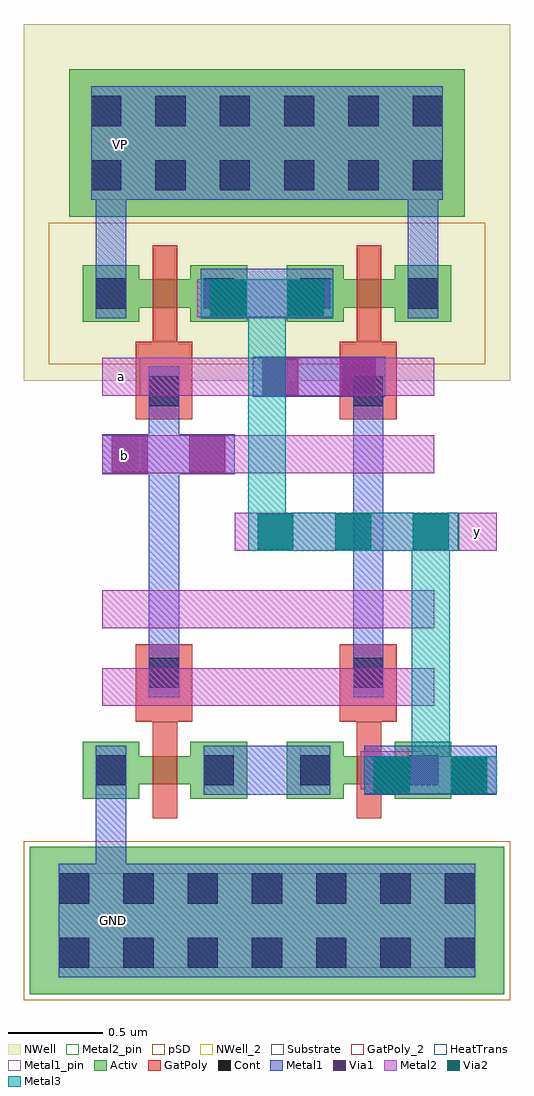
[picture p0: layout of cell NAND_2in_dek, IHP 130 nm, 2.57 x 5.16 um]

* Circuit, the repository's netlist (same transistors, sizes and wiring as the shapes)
** sch_path: /foss/designs/CHIP-PLL/schematics/divider/schematics/NAND_2in.sch
.subckt NAND_2in VP GND a y b
*.PININFO y:O GND:B a:I VP:B b:I
MM1 y a net1 GND sg13_lv_nmos w=0.15u l=0.13u ng=1
MM3 net1 b GND GND sg13_lv_nmos w=0.15u l=0.13u ng=1
MM2 y b VP VP sg13_lv_pmos w=0.15u l=0.13u ng=1
MM4 y a VP VP sg13_lv_pmos w=0.15u l=0.13u ng=1
.ends

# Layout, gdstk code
from math import pi, radians
import gdstk
lib = gdstk.Library(unit=1e-6, precision=1e-09)
def R(c, l, rs):  # rectangles x0, y0, x1, y1
    for r in rs: c.add(gdstk.rectangle(r[:2], r[2:], *l))
def A(c, l, x, y, w, h, nx, ny, dx, dy):  # array of equal rectangles
    R(c, l, [(x+i*dx, y+j*dy, x+i*dx+w, y+j*dy+h) for i in range(nx) for j in range(ny)])
Activ = (1, 0)
GatPoly = (5, 0)
GatPoly_2 = (5, 2)
Cont = (6, 0)
Metal1 = (8, 0)
Metal1_pin = (8, 2)
Metal2 = (10, 0)
Metal2_pin = (10, 2)
pSD = (14, 0)
Via1 = (19, 0)
Via2 = (29, 0)
Metal3 = (30, 0)
NWell = (31, 0)
NWell_2 = (31, 2)
Substrate = (40, 0)
HeatTrans = (51, 0)

via_4 = lib.new_cell('Via$4')
R(via_4, Metal2, [(-0.1,-0.35,0.1,0.35)])
R(via_4, Via2, [(-0.095,-0.3,0.095,-0.11), (-0.095,0.11,0.095,0.3)])
R(via_4, Metal3, [(-0.1,-0.35,0.1,0.35)])

via_2 = lib.new_cell('Via$2')
R(via_2, Metal1, [(-0.105,-0.35,0.105,0.35)])
R(via_2, Metal2, [(-0.1,-0.35,0.1,0.35)])
R(via_2, Via1, [(-0.095,-0.3,0.095,-0.11), (-0.095,0.11,0.095,0.3)])

ntap1 = lib.new_cell('ntap1')
R(ntap1, Activ, [(0,0,2.09,0.78)])
A(ntap1, Cont, 0.115, 0.14, 0.16, 0.16, 6, 2, 0.34, 0.34)
R(ntap1, Metal1, [(0.115,0.09,1.975,0.69)])
R(ntap1, Metal1_pin, [(0.115,0.09,1.975,0.69), (0.115,0.14,1.975,0.64)])
R(ntap1, NWell, [(-0.24,-0.24,2.33,1.02), (0,0,2.09,0.78)])
R(ntap1, NWell_2, [(0,0,2.09,0.78)])
ntap1.add(gdstk.Label('well', (1.045,0.01), layer=63, texttype=0))
ntap1.add(gdstk.Label('well', (1.045,0.01), layer=31, texttype=0))

ptap1 = lib.new_cell('ptap1')
R(ptap1, Activ, [(0,0,2.51,0.78)])
A(ptap1, Cont, 0.155, 0.14, 0.16, 0.16, 7, 2, 0.34, 0.34)
R(ptap1, Metal1, [(0.155,0.09,2.355,0.69), (0.155,0.14,2.355,0.64)])
R(ptap1, Metal1_pin, [(0.155,0.14,2.355,0.64)])
R(ptap1, pSD, [(-0.03,-0.03,2.54,0.81)])
R(ptap1, Substrate, [(0,0,2.51,0.78)])
ptap1.add(gdstk.Label('sub!', (1.255,0.01), layer=63, texttype=0))
ptap1.add(gdstk.Label('sub!', (1.255,0.01), layer=40, texttype=0))

nmos = lib.new_cell('nmos')
R(nmos, Activ, [(0,0,0.3,0.3), (0.57,0,0.87,0.3), (0,0.075,0.87,0.225)])
R(nmos, GatPoly, [(0.37,-0.105,0.5,0.405)])
R(nmos, GatPoly_2, [(0.37,-0.105,0.5,0.405)])
R(nmos, Cont, [(0.07,0.07,0.23,0.23), (0.64,0.07,0.8,0.23)])
R(nmos, Metal1, [(0.07,0.02,0.23,0.28), (0.64,0.02,0.8,0.28)])
R(nmos, Metal1_pin, [(0.07,0.02,0.23,0.28), (0.64,0.02,0.8,0.28)])
R(nmos, HeatTrans, [(0.37,-0.105,0.5,0.405)])
nmos.add(gdstk.Label('nmos', (0.435,0.15), layer=63, texttype=0))
nmos.add(gdstk.Label('nmos', (0.435,0.15), layer=51, texttype=0))

pmos = lib.new_cell('pmos')
R(pmos, Activ, [(0,0,0.3,0.3), (0.57,0,0.87,0.3), (0,0.075,0.87,0.225)])
R(pmos, GatPoly, [(0.37,-0.105,0.5,0.405), (0.37,-0.105,0.5,0.405)])
R(pmos, Cont, [(0.07,0.07,0.23,0.23), (0.64,0.07,0.8,0.23)])
R(pmos, Metal1, [(0.07,0.02,0.23,0.28), (0.07,0.02,0.23,0.28), (0.64,0.02,0.8,0.28), (0.64,0.02,0.8,0.28)])
R(pmos, pSD, [(-0.18,-0.225,1.05,0.525)])
R(pmos, NWell, [(-0.31,-0.31,1.18,0.61)])
R(pmos, HeatTrans, [(0.37,-0.105,0.5,0.405)])
pmos.add(gdstk.Label('pmos', (0.435,0.15), layer=63, texttype=0))
pmos.add(gdstk.Label('pmos', (0.435,0.15), layer=51, texttype=0))

via = lib.new_cell('Via')
R(via, GatPoly, [(-0.15,-0.15,0.15,0.15)])
R(via, Cont, [(-0.08,-0.08,0.08,0.08)])
R(via, Metal1, [(-0.13,-0.08,0.13,0.08)])

via_7 = lib.new_cell('Via$7')
R(via_7, Metal2, [(-0.555,-0.1,0.555,0.1)])
A(via_7, Via2, -0.505, -0.095, 0.19, 0.19, 3, 1, 0.41, 0)
R(via_7, Metal3, [(-0.555,-0.1,0.555,0.1)])

via_6 = lib.new_cell('Via$6')
R(via_6, Metal1, [(-0.35,-0.105,0.35,0.105)])
R(via_6, Metal2, [(-0.35,-0.1,0.35,0.1)])
R(via_6, Via1, [(-0.3,-0.095,-0.11,0.095), (0.11,-0.095,0.3,0.095)])

nand_2in_dek = lib.new_cell('NAND_2in_dek')
R(nand_2in_dek, GatPoly, [(9.375,7.165,9.675,7.275), (10.455,7.165,10.755,7.275), (9.375,9.065,9.675,9.175), (10.455,9.065,10.755,9.175)])
R(nand_2in_dek, Metal1, [(9.735,6.78,10.405,7.04), (10.585,6.78,11.285,7.04), (9.72,9.3,10.42,9.56)])
R(nand_2in_dek, Metal1_pin, [(9.16,6.015,9.36,6.215), (9.325,10.12,9.525,10.32)])
R(nand_2in_dek, Metal2_pin, [(11.085,8.07,11.285,8.27), (9.2,8.48,9.4,8.68), (9.2,8.89,9.4,9.09)])
nand_2in_dek.add(gdstk.FlexPath([(9.245,9.56),(9.245,10.525)], 0.16, ends="flush", simple_path=True, layer=8, datatype=0))  # Metal1
nand_2in_dek.add(gdstk.FlexPath([(10.895,9.56),(10.895,10.525)], 0.16, ends="flush", simple_path=True, layer=8, datatype=0))  # Metal1
nand_2in_dek.add(gdstk.FlexPath([(9.245,6.78),(9.245,6.415)], 0.16, ends="flush", simple_path=True, layer=8, datatype=0))  # Metal1
nand_2in_dek.add(gdstk.FlexPath([(9.525,7.555),(9.525,8.785)], 0.16, ends="flush", simple_path=True, layer=8, datatype=0))  # Metal1
nand_2in_dek.add(gdstk.FlexPath([(10.605,7.555),(10.605,8.785)], 0.16, ends="flush", simple_path=True, layer=8, datatype=0))  # Metal1
nand_2in_dek.add(gdstk.FlexPath([(9.9,8.17),(11.285,8.17)], 0.2, ends="flush", simple_path=True, layer=10, datatype=0))  # Metal2
nand_2in_dek.add(gdstk.FlexPath([(10.895,6.91),(10.565,6.91)], 0.2, ends="flush", simple_path=True, layer=10, datatype=0))  # Metal2
nand_2in_dek.add(gdstk.FlexPath([(9.865,9.405),(9.7,9.405)], 0.2, ends="flush", simple_path=True, layer=10, datatype=0))  # Metal2
nand_2in_dek.add(gdstk.FlexPath([(10.43,8.58),(10.43,8.58)], 0.2, ends="flush", simple_path=True, layer=10, datatype=0))  # Metal2
nand_2in_dek.add(gdstk.FlexPath([(9.2,8.99),(10.955,8.99)], 0.2, ends="flush", simple_path=True, layer=10, datatype=0))  # Metal2
nand_2in_dek.add(gdstk.FlexPath([(9.2,8.58),(10.955,8.58)], 0.2, ends="flush", simple_path=True, layer=10, datatype=0))  # Metal2
nand_2in_dek.add(gdstk.FlexPath([(9.2,7.76),(10.955,7.76)], 0.2, ends="flush", simple_path=True, layer=10, datatype=0))  # Metal2
nand_2in_dek.add(gdstk.FlexPath([(9.2,7.35),(10.955,7.35)], 0.2, ends="flush", simple_path=True, layer=10, datatype=0))  # Metal2
nand_2in_dek.add(gdstk.FlexPath([(10.07,9.305),(10.07,8.07)], 0.2, ends="flush", simple_path=True, layer=30, datatype=0))  # Metal3
nand_2in_dek.add(gdstk.FlexPath([(10.935,6.885),(10.935,8.07)], 0.2, ends="flush", simple_path=True, layer=30, datatype=0))  # Metal3
nand_2in_dek.add(gdstk.Reference(via_4, (10.935,6.885), rotation=3*pi/2))
nand_2in_dek.add(gdstk.Reference(via_2, (10.935,6.885), rotation=3*pi/2))
nand_2in_dek.add(gdstk.Reference(ntap1, (9.025,9.835)))
nand_2in_dek.add(gdstk.Reference(ptap1, (8.815,5.725)))
nand_2in_dek.add(gdstk.Reference(nmos, (10.175,6.76)))
nand_2in_dek.add(gdstk.Reference(pmos, (10.175,9.28)))
nand_2in_dek.add(gdstk.Reference(nmos, (9.095,6.76)))
nand_2in_dek.add(gdstk.Reference(pmos, (9.095,9.28)))
nand_2in_dek.add(gdstk.Reference(via, (9.525,8.915), rotation=pi/2))
nand_2in_dek.add(gdstk.Reference(via, (10.605,8.915), rotation=pi/2))
nand_2in_dek.add(gdstk.Reference(via, (10.605,7.425), rotation=3*pi/2))
nand_2in_dek.add(gdstk.Reference(via, (9.525,7.425), rotation=3*pi/2))
nand_2in_dek.add(gdstk.Reference(via_2, (9.55,8.58), rotation=3*pi/2))
nand_2in_dek.add(gdstk.Reference(via_7, (10.525,8.17)))
nand_2in_dek.add(gdstk.Reference(via_2, (10.07,9.405), rotation=3*pi/2))
nand_2in_dek.add(gdstk.Reference(via_4, (10.07,9.405), rotation=3*pi/2))
nand_2in_dek.add(gdstk.Reference(via_6, (10.345,8.99)))
nand_2in_dek.add(gdstk.Label('y', (11.185,8.17), layer=10, texttype=25))
nand_2in_dek.add(gdstk.Label('b', (9.315,8.575), layer=10, texttype=25))
nand_2in_dek.add(gdstk.Label('a', (9.3,8.99), layer=10, texttype=25))
nand_2in_dek.add(gdstk.Label('VP', (9.295,10.22), layer=8, texttype=25))
nand_2in_dek.add(gdstk.Label('GND', (9.26,6.115), layer=8, texttype=25))

lib.write_gds('NAND_2in_dek.gds')
